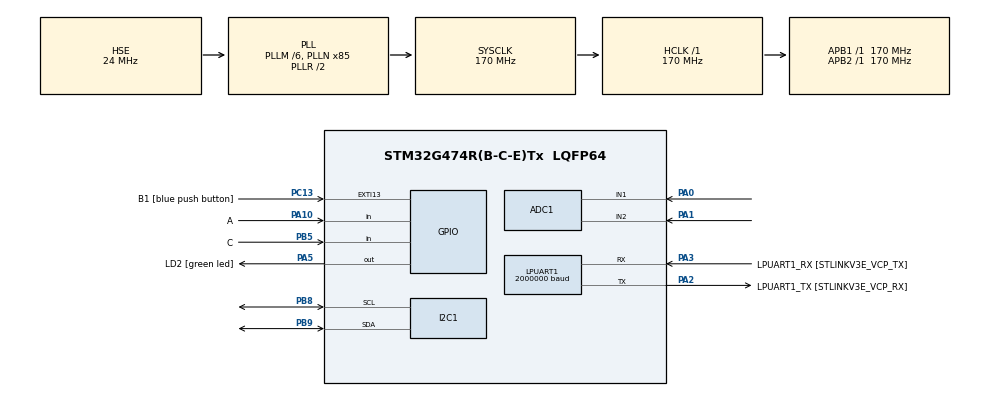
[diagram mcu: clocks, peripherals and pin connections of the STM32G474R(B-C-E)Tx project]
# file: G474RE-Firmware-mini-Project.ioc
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ADC1.Channel-0\#ChannelRegularConversion=ADC_CHANNEL_1
ADC1.Channel-1\#ChannelRegularConversion=ADC_CHANNEL_2
ADC1.ContinuousConvMode=ENABLE
ADC1.DMAContinuousRequests=ENABLE
ADC1.NbrOfConversion=2
ADC1.NbrOfConversionFlag=1
ADC1.OffsetNumber-0\#ChannelRegularConversion=ADC_OFFSET_NONE
ADC1.OffsetNumber-1\#ChannelRegularConversion=ADC_OFFSET_NONE
ADC1.Rank-0\#ChannelRegularConversion=1
ADC1.Rank-1\#ChannelRegularConversion=2
ADC1.SamplingTime-0\#ChannelRegularConversion=ADC_SAMPLETIME_640CYCLES_5
ADC1.SamplingTime-1\#ChannelRegularConversion=ADC_SAMPLETIME_640CYCLES_5
ADC1.master=1
Dma.ADC1.0.Direction=DMA_PERIPH_TO_MEMORY
Dma.ADC1.0.EventEnable=DISABLE
Dma.ADC1.0.Instance=DMA1_Channel1
Dma.ADC1.0.MemDataAlignment=DMA_MDATAALIGN_HALFWORD
Dma.ADC1.0.MemInc=DMA_MINC_ENABLE
Dma.ADC1.0.Mode=DMA_CIRCULAR
Dma.ADC1.0.PeriphDataAlignment=DMA_PDATAALIGN_HALFWORD
Dma.ADC1.0.PeriphInc=DMA_PINC_DISABLE
Dma.ADC1.0.Polarity=HAL_DMAMUX_REQ_GEN_RISING
Dma.ADC1.0.Priority=DMA_PRIORITY_LOW
Dma.ADC1.0.RequestNumber=1
Dma.ADC1.0.SignalID=NONE
Dma.ADC1.0.SyncEnable=DISABLE
Dma.ADC1.0.SyncPolarity=HAL_DMAMUX_SYNC_NO_EVENT
Dma.ADC1.0.SyncRequestNumber=1
Dma.ADC1.0.SyncSignalID=NONE
Dma.LPUART1_RX.1.Direction=DMA_PERIPH_TO_MEMORY
Dma.LPUART1_RX.1.EventEnable=DISABLE
Dma.LPUART1_RX.1.Instance=DMA1_Channel2
Dma.LPUART1_RX.1.MemDataAlignment=DMA_MDATAALIGN_BYTE
Dma.LPUART1_RX.1.MemInc=DMA_MINC_ENABLE
Dma.LPUART1_RX.1.Mode=DMA_CIRCULAR
Dma.LPUART1_RX.1.PeriphDataAlignment=DMA_PDATAALIGN_BYTE
Dma.LPUART1_RX.1.PeriphInc=DMA_PINC_DISABLE
Dma.LPUART1_RX.1.Polarity=HAL_DMAMUX_REQ_GEN_RISING
Dma.LPUART1_RX.1.Priority=DMA_PRIORITY_VERY_HIGH
Dma.LPUART1_RX.1.RequestNumber=1
Dma.LPUART1_RX.1.SignalID=NONE
Dma.LPUART1_RX.1.SyncEnable=DISABLE
Dma.LPUART1_RX.1.SyncPolarity=HAL_DMAMUX_SYNC_NO_EVENT
Dma.LPUART1_RX.1.SyncRequestNumber=1
Dma.LPUART1_RX.1.SyncSignalID=NONE
Dma.LPUART1_TX.2.Direction=DMA_MEMORY_TO_PERIPH
Dma.LPUART1_TX.2.EventEnable=DISABLE
Dma.LPUART1_TX.2.Instance=DMA1_Channel3
Dma.LPUART1_TX.2.MemDataAlignment=DMA_MDATAALIGN_BYTE
Dma.LPUART1_TX.2.MemInc=DMA_MINC_ENABLE
Dma.LPUART1_TX.2.Mode=DMA_NORMAL
Dma.LPUART1_TX.2.PeriphDataAlignment=DMA_PDATAALIGN_BYTE
Dma.LPUART1_TX.2.PeriphInc=DMA_PINC_DISABLE
Dma.LPUART1_TX.2.Polarity=HAL_DMAMUX_REQ_GEN_RISING
Dma.LPUART1_TX.2.Priority=DMA_PRIORITY_VERY_HIGH
Dma.LPUART1_TX.2.RequestNumber=1
Dma.LPUART1_TX.2.SignalID=NONE
Dma.LPUART1_TX.2.SyncEnable=DISABLE
Dma.LPUART1_TX.2.SyncPolarity=HAL_DMAMUX_SYNC_NO_EVENT
Dma.LPUART1_TX.2.SyncRequestNumber=1
Dma.LPUART1_TX.2.SyncSignalID=NONE
Dma.Request0=ADC1
Dma.Request1=LPUART1_RX
Dma.Request2=LPUART1_TX
FREERTOS.Tasks01=defaultTask,24,3000,StartDefaultTask,Default,NULL,Static,defaultTaskBuffer,defaultTaskControlBlock
FREERTOS.configENABLE_FPU=1
I2C1.Speed=40
I2C1.Timing=0x8061D1FF
IWDG.Reload=2499
LPUART1.BaudRate=2000000
Mcu.Family=STM32G4
Mcu.Name=STM32G474R(B-C-E)Tx
Mcu.Package=LQFP64
NVIC.ADC1_2_IRQn=true\:5\:0\:false\:false\:true\:true\:true\:true\:true
NVIC.DMA1_Channel1_IRQn=true\:5\:0\:false\:false\:true\:true\:false\:true\:true
NVIC.DMA1_Channel2_IRQn=true\:5\:0\:false\:false\:true\:true\:false\:true\:true
NVIC.DMA1_Channel3_IRQn=true\:5\:0\:false\:false\:true\:true\:false\:true\:true
NVIC.EXTI15_10_IRQn=true\:5\:0\:false\:false\:true\:true\:true\:true\:true
NVIC.LPUART1_IRQn=true\:5\:0\:false\:false\:true\:true\:true\:true\:true
NVIC.PriorityGroup=NVIC_PRIORITYGROUP_4
NVIC.TIM1_UP_TIM16_IRQn=true\:15\:0\:false\:false\:true\:false\:false\:true\:true
NVIC.TimeBase=TIM1_UP_TIM16_IRQn
NVIC.TimeBaseIP=TIM1
PA0.Mode=IN1-Single-Ended
PA0.Signal=ADC1_IN1
PA1.Mode=IN2-Single-Ended
PA1.Signal=ADC1_IN2
PA10.GPIO_Label=A
PA10.Signal=GPIO_Input
PA13.GPIO_Label=T_SWDIO
PA13.Signal=SYS_JTMS-SWDIO
PA14.GPIO_Label=T_SWCLK
PA14.Signal=SYS_JTCK-SWCLK
PA2.GPIO_Label=LPUART1_TX [STLINKV3E_VCP_RX]
PA2.Mode=Asynchronous
PA2.Signal=LPUART1_TX
PA3.GPIO_Label=LPUART1_RX [STLINKV3E_VCP_TX]
PA3.Mode=Asynchronous
PA3.Signal=LPUART1_RX
PA5.GPIO_Label=LD2 [green led]
PA5.Signal=GPIO_Output
PB3.GPIO_Label=T_SWO
PB3.Signal=SYS_JTDO-SWO
PB5.GPIO_Label=C
PB5.Signal=GPIO_Input
PB8-BOOT0.Mode=I2C
PB8-BOOT0.Signal=I2C1_SCL
PB9.Mode=I2C
PB9.Signal=I2C1_SDA
PC13.GPIO_Label=B1 [blue push button]
PC13.Signal=GPXTI13
PC14-OSC32_IN.GPIO_Label=RCC_OSC32_IN
PC14-OSC32_IN.Signal=RCC_OSC32_IN
PC15-OSC32_OUT.GPIO_Label=RCC_OSC32_OUT
PC15-OSC32_OUT.Signal=RCC_OSC32_OUT
PF0-OSC_IN.GPIO_Label=RCC_OSC_IN
PF0-OSC_IN.Mode=HSE-External-Oscillator
PF0-OSC_IN.Signal=RCC_OSC_IN
PF1-OSC_OUT.GPIO_Label=RCC_OSC_OUT
PF1-OSC_OUT.Mode=HSE-External-Oscillator
PF1-OSC_OUT.Signal=RCC_OSC_OUT
ProjectManager.HeapSize=0x200
ProjectManager.StackSize=0x400
ProjectManager.TargetToolchain=STM32CubeIDE
RCC.ADC12Freq_Value=170000000
RCC.ADC345Freq_Value=170000000
RCC.AHBFreq_Value=170000000
RCC.APB1Freq_Value=170000000
RCC.APB1TimFreq_Value=170000000
RCC.APB2Freq_Value=170000000
RCC.APB2TimFreq_Value=170000000
RCC.CortexFreq_Value=170000000
RCC.EXTERNAL_CLOCK_VALUE=12288000
RCC.HCLKFreq_Value=170000000
RCC.HSE_VALUE=24000000
RCC.HSI48_VALUE=48000000
RCC.HSI_VALUE=16000000
RCC.LSE_VALUE=32768
RCC.PLLM=RCC_PLLM_DIV6
RCC.PLLN=85
RCC.PLLSourceVirtual=RCC_PLLSOURCE_HSE
RCC.RTCClockSelection=RCC_RTCCLKSOURCE_LSE
RCC.SYSCLKFreq_VALUE=170000000
RCC.SYSCLKSource=RCC_SYSCLKSOURCE_PLLCLK
RCC.USBFreq_Value=170000000
RCC.VCOOutputFreq_Value=340000000
VP_FREERTOS_VS_CMSIS_V2.Mode=CMSIS_V2
VP_IWDG_VS_IWDG.Mode=IWDG_Activate
VP_SYS_VS_DBSignals.Mode=DisableDeadBatterySignals
VP_SYS_VS_tim1.Mode=TIM1
board=NUCLEO-G474RE

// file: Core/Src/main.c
/* USER CODE BEGIN Header */
/**
  ******************************************************************************
  * File Name          : app_freertos.c
  * Description        : Code for freertos applications
  ******************************************************************************
  * @attention
  *
  * Copyright (c) 2024 STMicroelectronics.
  * All rights reserved.
  *
  * This software is licensed under terms that can be found in the LICENSE file
  * in the root directory of this software component.
  * If no LICENSE file comes with this software, it is provided AS-IS.
  *
  ******************************************************************************
  */
/* USER CODE END Header */
#include "main.h"
#include "cmsis_os.h"
#include "adc.h"
#include "dma.h"
#include "i2c.h"
#include "iwdg.h"
#include "usart.h"
#include "gpio.h"

/* USER CODE BEGIN PM */
#define RCSOFTCHECK(fn) if (fn != RCL_RET_OK) {};
/* USER CODE END PM */

void SystemClock_Config(void);
void MX_FREERTOS_Init(void);

int main(void)
{

  /* MCU Configuration--------------------------------------------------------*/

  /* Reset of all peripherals, Initializes the Flash interface and the Systick. */
  HAL_Init();

  /* Configure the system clock */
  SystemClock_Config();

  /* Initialize all configured peripherals */
  MX_GPIO_Init();
  MX_DMA_Init();
  MX_ADC1_Init();
  MX_IWDG_Init();
  MX_LPUART1_UART_Init();
  MX_I2C1_Init();

  /* Init scheduler */
  osKernelInitialize();

  /* Call init function for freertos objects (in cmsis_os2.c) */
  MX_FREERTOS_Init();

  /* Start scheduler */
  osKernelStart();

  /* We should never get here as control is now taken by the scheduler */

  /* Infinite loop */
  while (1)
  {

  }
}

void SystemClock_Config(void)
{
  RCC_OscInitTypeDef RCC_OscInitStruct = {0};
  RCC_ClkInitTypeDef RCC_ClkInitStruct = {0};

  /** Configure the main internal regulator output voltage
  */
  HAL_PWREx_ControlVoltageScaling(PWR_REGULATOR_VOLTAGE_SCALE1_BOOST);

  /** Initializes the RCC Oscillators according to the specified parameters
  * in the RCC_OscInitTypeDef structure.
  */
  RCC_OscInitStruct.OscillatorType = RCC_OSCILLATORTYPE_LSI|RCC_OSCILLATORTYPE_HSE;
  RCC_OscInitStruct.HSEState = RCC_HSE_ON;
  RCC_OscInitStruct.LSIState = RCC_LSI_ON;
  RCC_OscInitStruct.PLL.PLLState = RCC_PLL_ON;
  RCC_OscInitStruct.PLL.PLLSource = RCC_PLLSOURCE_HSE;
  RCC_OscInitStruct.PLL.PLLM = RCC_PLLM_DIV6;
  RCC_OscInitStruct.PLL.PLLN = 85;
  RCC_OscInitStruct.PLL.PLLP = RCC_PLLP_DIV2;
  RCC_OscInitStruct.PLL.PLLQ = RCC_PLLQ_DIV2;
  RCC_OscInitStruct.PLL.PLLR = RCC_PLLR_DIV2;
  if (HAL_RCC_OscConfig(&RCC_OscInitStruct) != HAL_OK)
  {
    Error_Handler();
  }

  /** Initializes the CPU, AHB and APB buses clocks
  */
  RCC_ClkInitStruct.ClockType = RCC_CLOCKTYPE_HCLK|RCC_CLOCKTYPE_SYSCLK
                              |RCC_CLOCKTYPE_PCLK1|RCC_CLOCKTYPE_PCLK2;
  RCC_ClkInitStruct.SYSCLKSource = RCC_SYSCLKSOURCE_PLLCLK;
  RCC_ClkInitStruct.AHBCLKDivider = RCC_SYSCLK_DIV1;
  RCC_ClkInitStruct.APB1CLKDivider = RCC_HCLK_DIV1;
  RCC_ClkInitStruct.APB2CLKDivider = RCC_HCLK_DIV1;

  if (HAL_RCC_ClockConfig(&RCC_ClkInitStruct, FLASH_LATENCY_4) != HAL_OK)
  {
    Error_Handler();
  }
}

void HAL_TIM_PeriodElapsedCallback(TIM_HandleTypeDef *htim)
{
  if (htim->Instance == TIM1) {
    HAL_IncTick();
  }
}

void Error_Handler(void)
{
  __disable_irq();
  while (1)
  {
  }
}

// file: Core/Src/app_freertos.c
/* USER CODE BEGIN Header */
/**
  ******************************************************************************
  * File Name          : app_freertos.c
  * Description        : Code for freertos applications
  ******************************************************************************
  * @attention
  *
  * Copyright (c) 2024 STMicroelectronics.
  * All rights reserved.
  *
  * This software is licensed under terms that can be found in the LICENSE file
  * in the root directory of this software component.
  * If no LICENSE file comes with this software, it is provided AS-IS.
  *
  ******************************************************************************
  */
/* USER CODE END Header */

#include "FreeRTOS.h"
#include "task.h"
#include "main.h"
#include "cmsis_os.h"

/* USER CODE BEGIN Includes */
#include "dma.h"
#include "i2c.h"
#include "iwdg.h"
#include "gpio.h"
#include "usart.h"
#include "adc.h"

#include <math.h>
#include <string.h>
#include <mpu6050.h>

#include <rcl/rcl.h>
#include <rcl/error_handling.h>
#include <rclc/rclc.h>
#include <rclc/executor.h>
#include <uxr/client/transport.h>
#include <rmw_microxrcedds_c/config.h>
#include <rmw_microros/rmw_microros.h>

#include <std_msgs/msg/int32.h>
#include <sensor_msgs/msg/imu.h>
#include <geometry_msgs/msg/twist.h>

#include <std_srvs/srv/trigger.h>
#include <std_srvs/srv/set_bool.h>
#include <robotic_interfaces/srv/keyboard.h>
#include <imu_interfaces/srv/imu_calibration.h>

#include <micro_ros_utilities/string_utilities.h>
/* USER CODE END Includes */

typedef StaticTask_t osStaticThreadDef_t;
/* USER CODE BEGIN PTD */
typedef struct {
	double x;
	double y;
	double z;
} offset3d_t;

typedef struct {
	double roll;
	double pitch;
	double yaw;
} rotation_t;

typedef struct {
	double Q_angle;
	double Q_bias;
	double R_measure;

	double angle;
	double bias;
	double rate;

	double P[2][2];
} KalmanFilter_t;

typedef struct {
	GPIO_PinState A;
	GPIO_PinState B;
	GPIO_PinState C;
	GPIO_PinState D;
	GPIO_PinState K;
} controller_t;
/* USER CODE END PTD */

/* USER CODE BEGIN PD */
#define GRAVITY 9.80665
#define DEG_TO_RAD M_PI / 180.0
#define RAD_TO_DEG 180.0 / M_PI

#define ADC_MAX 4095.0f
#define ADC_MIN 0.0f
#define OUTPUT_MAX 1.0f
#define OUTPUT_MIN -1.0f
/* USER CODE END PD */

/* USER CODE BEGIN PM */
#define RCSOFTCHECK(fn) if (fn != RCL_RET_OK) {};
/* USER CODE END PM */

/* USER CODE BEGIN Variables */
rcl_node_t node;

rcl_publisher_t mpu6050_publisher;
sensor_msgs__msg__Imu mpu6050_msg;

rcl_publisher_t cmd_vel_publisher;
geometry_msgs__msg__Twist cmd_vel_msg;

rcl_publisher_t cmd_vell_publisher;
geometry_msgs__msg__Twist cmd_vell_msg;

rcl_service_t imu_calibration_server;
imu_interfaces__srv__ImuCalibration_Request imu_calibration_request;
imu_interfaces__srv__ImuCalibration_Response imu_calibration_response;

rcl_service_t imu_status_server;
std_srvs__srv__SetBool_Request imu_status_request;
std_srvs__srv__SetBool_Response imu_status_response;

MPU6050_t MPU6050;
uint16_t cc = 0;
uint16_t cs = 0;
uint16_t ct = 0;
uint16_t cq = 0;

offset3d_t accl_offset;
offset3d_t gyro_offset;

rotation_t rotation_gyro;
rotation_t rotation_accl;
rotation_t rotation_kalm;
rotation_t rotation_real;

bool is_calib = false;
bool on_calib = false;

uint16_t ADCBuffer[80]={0};
int ADC_Average[2] = {0};
int ADC_SumAPot[2] = {0};

controller_t joy;

int main_Mode = 0;
uint8_t state_keep_B = 0;
uint8_t B_count = 0;
uint8_t state_keep_D = 0;
uint8_t D_count = 0;
uint8_t wait = 0;
uint8_t auto_on = 0;
uint8_t state_keep_K = 0;
/* USER CODE END Variables */
/* Definitions for defaultTask */
osThreadId_t defaultTaskHandle;
uint32_t defaultTaskBuffer[ 3000 ];
osStaticThreadDef_t defaultTaskControlBlock;
const osThreadAttr_t defaultTask_attributes = {
  .name = "defaultTask",
  .stack_mem = &defaultTaskBuffer[0],
  .stack_size = sizeof(defaultTaskBuffer),
  .cb_mem = &defaultTaskControlBlock,
  .cb_size = sizeof(defaultTaskControlBlock),
  .priority = (osPriority_t) osPriorityNormal,
};

/* USER CODE BEGIN FunctionPrototypes */
bool cubemx_transport_open(struct uxrCustomTransport * transport);
bool cubemx_transport_close(struct uxrCustomTransport * transport);
size_t cubemx_transport_write(struct uxrCustomTransport* transport, const uint8_t * buf, size_t len, uint8_t * err);
size_t cubemx_transport_read(struct uxrCustomTransport* transport, uint8_t* buf, size_t len, int timeout, uint8_t* err);

void * microros_allocate(size_t size, void * state);
void microros_deallocate(void * pointer, void * state);
void * microros_reallocate(void * pointer, size_t size, void * state);
void * microros_zero_allocate(size_t number_of_elements, size_t size_of_element, void * state);

void ADC_Averaged();
void Read_Buttons();
float map_adc_to_output(int adc_value);

float map_adc_to_output(int adc_value) {
	float mapped = ((adc_value - ADC_MIN) * (OUTPUT_MAX - OUTPUT_MIN) / (ADC_MAX - ADC_MIN)) + OUTPUT_MIN;
	float output = (fabs(mapped) < 0.03) ? 0.0 : mapped;
	return output;
}

void timer_callback(rcl_timer_t * timer, int64_t last_call_time)
{
	if (timer != NULL) {
		uint32_t i2cError = HAL_I2C_GetError(&hi2c1);
		if (i2cError == HAL_I2C_ERROR_NONE){
			if (is_calib || on_calib){
				MPU6050_Read_All(&hi2c1, &MPU6050);

				double Ax = (GRAVITY * MPU6050.Ax) - accl_offset.x;
				double Ay = (GRAVITY * MPU6050.Ay) - accl_offset.y;
				double Az = (GRAVITY * MPU6050.Az) - accl_offset.z;

				double Gx = (DEG_TO_RAD * MPU6050.Gx) - gyro_offset.x;
				double Gy = (DEG_TO_RAD * MPU6050.Gy) - gyro_offset.y;
				double Gz = (DEG_TO_RAD * MPU6050.Gz) - gyro_offset.z;

				mpu6050_msg.header.stamp.sec = rmw_uros_epoch_millis() / 1000;
				mpu6050_msg.header.stamp.nanosec = rmw_uros_epoch_nanos();

				mpu6050_msg.linear_acceleration.x = Ax;
				mpu6050_msg.linear_acceleration.y = Ay;
				mpu6050_msg.linear_acceleration.z = Az;

				mpu6050_msg.angular_velocity.x = Gx;
				mpu6050_msg.angular_velocity.y = Gy;
				mpu6050_msg.angular_velocity.z = Gz;

//				rcl_ret_t ret = rcl_publish(&mpu6050_publisher, &mpu6050_msg, NULL);
//				if (ret != RCL_RET_OK) printf("Error publishing (line %d)\n", __LINE__);

				rotation_real.roll = MPU6050.KalmanAngleX;
				rotation_real.pitch = MPU6050.KalmanAngleY;

				cmd_vel_msg.linear.x = -(rotation_real.pitch * DEG_TO_RAD);
				cmd_vel_msg.angular.z = -(rotation_real.roll * DEG_TO_RAD);

				rcl_ret_t rett = rcl_publish(&cmd_vel_publisher, &cmd_vel_msg, NULL);
				if (rett != RCL_RET_OK) printf("Error publishing (line %d)\n", __LINE__);

				ADC_Averaged();
				Read_Buttons();

				float zp = (joy.A == GPIO_PIN_SET) ? 0 : 0.2;
				float zm = (joy.C == GPIO_PIN_SET) ? 0 : -0.2;

				cmd_vell_msg.linear.x = (map_adc_to_output(ADC_Average[1])) * 0.2;
				cmd_vell_msg.linear.y = (map_adc_to_output(ADC_Average[0])) * 0.2;
				cmd_vell_msg.linear.z = zp + zm;

				rcl_ret_t rettt = rcl_publish(&cmd_vell_publisher, &cmd_vell_msg, NULL);
				if (rettt != RCL_RET_OK) printf("Error publishing (line %d)\n", __LINE__);

			}
		}
		else
		{
			static uint32_t timestamp = 0;
			if (timestamp <= HAL_GetTick()){
				timestamp = HAL_GetTick() + 1000;
				HAL_GPIO_TogglePin(LD2_GPIO_Port, LD2_Pin);
				HAL_I2C_DeInit(&hi2c1);
				HAL_I2C_Init(&hi2c1);
				MPU6050_Init(&hi2c1);
			}
		}

	    HAL_IWDG_Refresh(&hiwdg);
	    cc++;
	}
}

void imu_calib_service_callback(const void * request_msg, void * response_msg){
  // Cast messages to expected types
  imu_interfaces__srv__ImuCalibration_Request * req_in =
    (imu_interfaces__srv__ImuCalibration_Request *) request_msg;
  imu_interfaces__srv__ImuCalibration_Response * res_in =
    (imu_interfaces__srv__ImuCalibration_Response *) response_msg;

  size_t accl_size = sizeof(req_in->imu_calib.linear_acceleration_covariance);
  size_t gyro_size = sizeof(req_in->imu_calib.angular_velocity_covariance);
  memcpy(mpu6050_msg.linear_acceleration_covariance, req_in->imu_calib.linear_acceleration_covariance, accl_size);
  memcpy(mpu6050_msg.angular_velocity_covariance, req_in->imu_calib.angular_velocity_covariance, gyro_size);

  accl_offset.x = req_in->imu_calib.linear_acceleration.x;
  accl_offset.y = req_in->imu_calib.linear_acceleration.y;
  accl_offset.z = req_in->imu_calib.linear_acceleration.z;

  gyro_offset.x = req_in->imu_calib.angular_velocity.x;
  gyro_offset.y = req_in->imu_calib.angular_velocity.y;
  gyro_offset.z = req_in->imu_calib.angular_velocity.z;

  is_calib = true;
  res_in->success = true;

  HAL_GPIO_TogglePin(LD2_GPIO_Port, LD2_Pin);

}

void imu_status_service_callback(const void * request_msg, void * response_msg){
  // Cast messages to expected types
  std_srvs__srv__SetBool_Request * req_in =
    (std_srvs__srv__SetBool_Request *) request_msg;
  std_srvs__srv__SetBool_Response * res_in =
    (std_srvs__srv__SetBool_Response *) response_msg;

  if (req_in->data){
	  uint32_t i2cError = HAL_I2C_GetError(&hi2c1);
	  if (i2cError == HAL_I2C_ERROR_NONE) {
	      res_in->success = true;
	      res_in->message.data = "MPU6050 is connected.";
		  cs++;
	  }
	  else {
	      res_in->success = false;
	      res_in->message.data = "MPU6050 is not connect, Error with I2C interfaces.";
		  ct++;
	  }
  }
  else{
      res_in->success = false;
      res_in->message.data = "Request false.";
  }

}

void ADC_Averaged()
{
	for (int i = 0; i < 40; i++)
	{
		ADC_SumAPot[0] += ADCBuffer[2*i];
		ADC_SumAPot[1] += ADCBuffer[1+(2*i)];
	}

	for (int i = 0; i < 2; i++)
	{
		ADC_Average[i] = ADC_SumAPot[i] / 40;
		ADC_SumAPot[i] = 0;
	}
}

void Read_Buttons()
{
	joy.A = HAL_GPIO_ReadPin(A_GPIO_Port, A_Pin);
	joy.C = HAL_GPIO_ReadPin(C_GPIO_Port, C_Pin);
}

void HAL_GPIO_EXTI_Callback(uint16_t GPIO_Pin)
{
	if (GPIO_Pin == GPIO_PIN_10)
	{
		if (main_Mode == 0) main_Mode = 1;
		else if (main_Mode == 1) main_Mode = 2;
		else if (main_Mode == 2) main_Mode = 0;
	}
}

/* USER CODE END FunctionPrototypes */

void StartDefaultTask(void *argument);

void MX_FREERTOS_Init(void); /* (MISRA C 2004 rule 8.1) */

void MX_FREERTOS_Init(void) {
  /* USER CODE BEGIN Init */
  while (MPU6050_Init(&hi2c1) == 1);
  HAL_ADCEx_Calibration_Start(&hadc1, ADC_SINGLE_ENDED);
  HAL_ADC_Start_DMA(&hadc1, ADCBuffer, 80);
  /* USER CODE END Init */

  /* Create the thread(s) */
  /* creation of defaultTask */
  defaultTaskHandle = osThreadNew(StartDefaultTask, NULL, &defaultTask_attributes);

}

void StartDefaultTask(void *argument)
{
  /* USER CODE BEGIN StartDefaultTask */
	// micro-ROS configuration

	rmw_uros_set_custom_transport(
		true,
		(void *) &hlpuart1,
		cubemx_transport_open,
		cubemx_transport_close,
		cubemx_transport_write,
		cubemx_transport_read);

	rcl_allocator_t freeRTOS_allocator = rcutils_get_zero_initialized_allocator();
	freeRTOS_allocator.allocate = microros_allocate;
	freeRTOS_allocator.deallocate = microros_deallocate;
	freeRTOS_allocator.reallocate = microros_reallocate;
	freeRTOS_allocator.zero_allocate =  microros_zero_allocate;

	if (!rcutils_set_default_allocator(&freeRTOS_allocator)) {
	  printf("Error on default allocators (line %d)\n", __LINE__);
	}

	GPIO_PinState B1 = HAL_GPIO_ReadPin(B1_GPIO_Port, B1_Pin);

	// micro-ROS app
	rcl_timer_t mpu6050_timer;
	rclc_support_t support;
	rclc_executor_t executor;
	rcl_allocator_t allocator;
	rcl_init_options_t init_options;

	const unsigned int timer_period = RCL_MS_TO_NS(10);
	const int timeout_ms = 5000;
	int executor_num = 3;

	// Get message type support
	const rosidl_message_type_support_t * imu_type_support =
	  ROSIDL_GET_MSG_TYPE_SUPPORT(sensor_msgs, msg, Imu);

	const rosidl_message_type_support_t * cmd_type_support =
	  ROSIDL_GET_MSG_TYPE_SUPPORT(geometry_msgs, msg, Twist);

	const rosidl_service_type_support_t * imu_calib_type_support =
	  ROSIDL_GET_SRV_TYPE_SUPPORT(imu_interfaces, srv, ImuCalibration);

	const rosidl_service_type_support_t * imu_status_type_support =
	  ROSIDL_GET_SRV_TYPE_SUPPORT(std_srvs, srv, SetBool);

	allocator = rcl_get_default_allocator();

	executor = rclc_executor_get_zero_initialized_executor();

	init_options = rcl_get_zero_initialized_init_options();

	RCSOFTCHECK(rcl_init_options_init(&init_options, allocator));
	RCSOFTCHECK(rcl_init_options_set_domain_id(&init_options, 69));

	//create support init_options
	rclc_support_init_with_options(&support, 0, NULL, &init_options, &allocator);

	//create timer
	rclc_timer_init_default(&mpu6050_timer, &support, timer_period, timer_callback);

	// create node
	rclc_node_init_default(&node, "G474RE_MPU6050_node", "", &support);

	// create publisher
	rclc_publisher_init_best_effort(&mpu6050_publisher, &node, imu_type_support, "mpu6050_publisher");
	rclc_publisher_init_default(&cmd_vel_publisher, &node, cmd_type_support, "cmd_vel");
	rclc_publisher_init_default(&cmd_vell_publisher, &node, cmd_type_support, "dofdof/cmd_vel");
	//create subscriber

	//create service server
	if (B1 == GPIO_PIN_RESET) {
		rclc_service_init_default(&imu_calibration_server, &node, imu_calib_type_support, "imu_calibration");
		executor_num++;
	}
	else{
		on_calib = true;
	}

	rclc_service_init_default(&imu_status_server, &node, imu_status_type_support, "imu/status");

	//create service client

	//create executor
	rclc_executor_init(&executor, &support.context, executor_num, &allocator);

	rclc_executor_add_timer(&executor, &mpu6050_timer);
	if (B1 == GPIO_PIN_RESET) rclc_executor_add_service(&executor, &imu_calibration_server, &imu_calibration_request, &imu_calibration_response, imu_calib_service_callback);
	rclc_executor_add_service(&executor, &imu_status_server, &imu_status_request, &imu_status_response, imu_status_service_callback);

	rclc_executor_spin(&executor);

	rmw_uros_sync_session(timeout_ms);

	//create message
	mpu6050_msg.header.frame_id = micro_ros_string_utilities_init("imu_frame");

	for(;;)
	{
		osDelay(10);
	}
  /* USER CODE END StartDefaultTask */
}
